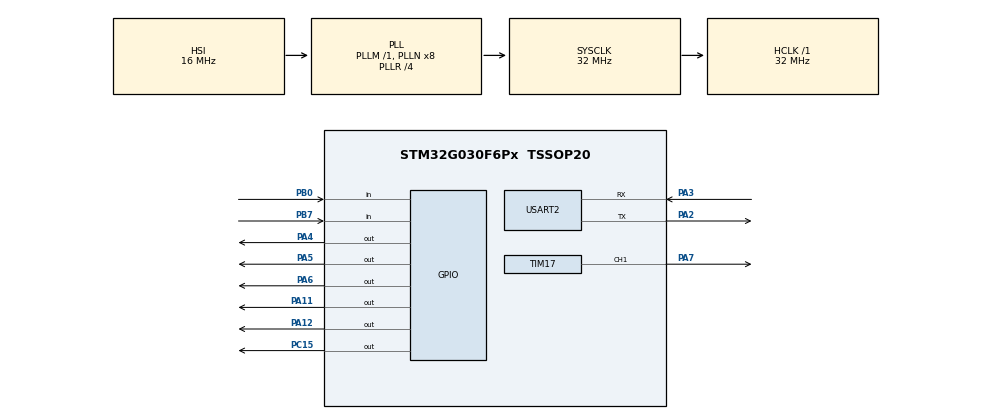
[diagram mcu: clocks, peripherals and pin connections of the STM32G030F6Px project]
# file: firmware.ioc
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Dma.Request0=TIM17_CH1
Dma.TIM17_CH1.0.Direction=DMA_MEMORY_TO_PERIPH
Dma.TIM17_CH1.0.EventEnable=DISABLE
Dma.TIM17_CH1.0.Instance=DMA1_Channel1
Dma.TIM17_CH1.0.MemDataAlignment=DMA_MDATAALIGN_HALFWORD
Dma.TIM17_CH1.0.MemInc=DMA_MINC_ENABLE
Dma.TIM17_CH1.0.Mode=DMA_NORMAL
Dma.TIM17_CH1.0.PeriphDataAlignment=DMA_PDATAALIGN_HALFWORD
Dma.TIM17_CH1.0.PeriphInc=DMA_PINC_DISABLE
Dma.TIM17_CH1.0.Polarity=HAL_DMAMUX_REQ_GEN_RISING
Dma.TIM17_CH1.0.Priority=DMA_PRIORITY_MEDIUM
Dma.TIM17_CH1.0.RequestNumber=1
Dma.TIM17_CH1.0.SignalID=NONE
Dma.TIM17_CH1.0.SyncEnable=DISABLE
Dma.TIM17_CH1.0.SyncPolarity=HAL_DMAMUX_SYNC_NO_EVENT
Dma.TIM17_CH1.0.SyncRequestNumber=1
Dma.TIM17_CH1.0.SyncSignalID=NONE
Mcu.Family=STM32G0
Mcu.Name=STM32G030F6Px
Mcu.Package=TSSOP20
NVIC.DMA1_Channel1_IRQn=true\:0\:0\:false\:false\:true\:false\:true\:true
NVIC.TIM17_IRQn=true\:0\:0\:false\:false\:true\:true\:true\:true
NVIC.USART2_IRQn=true\:0\:0\:false\:false\:true\:true\:true\:true
PA11\ [PA9].Signal=GPIO_Output
PA12\ [PA10].Signal=GPIO_Output
PA13.Mode=Serial_Wire
PA13.Signal=SYS_SWDIO
PA14-BOOT0.Mode=Serial_Wire
PA14-BOOT0.Signal=SYS_SWCLK
PA14-BOOT0__PA15.StandardMode=true
PA2.Mode=Asynchronous
PA2.Signal=USART2_TX
PA3.Mode=Asynchronous
PA3.Signal=USART2_RX
PA4.Signal=GPIO_Output
PA5.PinState=GPIO_PIN_RESET
PA5.Signal=GPIO_Output
PA6.Signal=GPIO_Output
PA7.Signal=S_TIM17_CH1
PB0.GPIO_PuPd=GPIO_PULLDOWN
PB0.Signal=GPIO_Input
PB0__PB1__PB2__PA8.StandardMode=true
PB3__PB4__PB5__PB6.StandardMode=true
PB7.Signal=GPIO_Input
PB7__PB8.StandardMode=true
PC14-OSC32_IN\ (PC14)__PB9.StandardMode=true
PC15-OSC32_OUT\ (PC15).Signal=GPIO_Output
ProjectManager.HeapSize=0x200
ProjectManager.StackSize=0x400
ProjectManager.TargetToolchain=STM32CubeIDE
RCC.ADCFreq_Value=32000000
RCC.AHBFreq_Value=32000000
RCC.CortexFreq_Value=32000000
RCC.EXTERNAL_CLOCK_VALUE=12288000
RCC.HCLKFreq_Value=32000000
RCC.HSE_VALUE=8000000
RCC.HSI_VALUE=16000000
RCC.LSE_VALUE=32768
RCC.PLLR=RCC_PLLR_DIV4
RCC.SYSCLKFreq_VALUE=32000000
RCC.SYSCLKSource=RCC_SYSCLKSOURCE_PLLCLK
RCC.VCOOutputFreq_Value=128000000
SH.S_TIM17_CH1.0=TIM17_CH1,PWM Generation1 CH1
TIM17.Channel=TIM_CHANNEL_1
TIM17.Period=39
USART2.VirtualMode-Asynchronous=VM_ASYNC
VP_TIM17_VS_ClockSourceINT.Mode=Enable_Timer
board=custom

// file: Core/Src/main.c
/* USER CODE BEGIN Header */
/**
  ******************************************************************************
  * @file           : main.c
  * @brief          : Main program body
  * @author					: Thomas Stäheli
  ******************************************************************************
  * @attention
  *
  * Copyright (c) 2025 STMicroelectronics.
  * All rights reserved.
  *
  * This software is licensed under terms that can be found in the LICENSE file
  * in the root directory of this software component.
  * If no LICENSE file comes with this software, it is provided AS-IS.
  *
  ******************************************************************************
  */
/* USER CODE END Header */
#include "main.h"

/* USER CODE BEGIN Includes */
#include <stdio.h>
#include <string.h>
#include <stdint.h>
#include "rgb_led.h"
#include "bitmap.h"
#include "board_com.h"
#include "fifo.h"
#include "core_cm0plus.h" // pour __NOP() si dispo
/* USER CODE END Includes */

/* USER CODE BEGIN PTD */
// Handle all the pins from schematics (same name in the schematic)
typedef enum {
	ROW0, ROW1, ROW2, COL0, COL1, COL2, READ, BUTTON
} Pins;

// Game states
typedef enum {
	INIT_ANIMATION, 			// INIT
	INIT_BOARD, 				 	// Wait until the board is init (32 pieces placed)
	STARTING_ANIMATION,  	// Before start
	IN_GAME, 						 	// Reading UART port for app command
	GAME_END						 	// Handle the restart of a new game
} States;

// Store the differents pins name and port
typedef struct {
	GPIO_TypeDef *port;   // Pointer to the GPIO Block (GPIOA, GPIOB…)
	uint16_t pin;         // Pin number
} GPIO_pin;

// A Matrix Square
typedef struct {
	uint8_t column;
	uint8_t line;
} Square;

// Store all the settings
typedef struct {
	uint8_t grid_brightness;
	uint8_t possible_move_brightness;
	Color   board_theme;
} Settings;
/* USER CODE END PTD */

/* USER CODE BEGIN PD */
// DEFINE
#define BOARD_WIDTH									8
#define BOARD_HEIGHT								8
#define BOARD_MIDDLE								BOARD_WIDTH * BOARD_HEIGHT / 2
#define BOARD_IS_NOT_READY					0
#define BOARD_IS_READY							1
#define BOARD_DEFAULT_GRID_BRIGHT		255
#define BOARD_DEFAULT_MOVE_BRIGHT   255

#define PIN_NUMBER_FOR_COLUMN 			3
#define PIN_NUMBER_FOR_LINE	 				3
#define NO_INDEX_FOUND							255

#define COLOR_PANNEL_SIZE						256
#define MAX_COMMAND_SIZE						64
/* USER CODE END PD */

/* USER CODE BEGIN PM */
// MACRO
/* USER CODE END PM */

TIM_HandleTypeDef htim17;
DMA_HandleTypeDef hdma_tim17_ch1;

UART_HandleTypeDef huart2;

/* USER CODE BEGIN PV */
// PRIVATE VARIABLE
// Pinout
static const GPIO_pin gpio_pins[] = {
	{GPIOA, GPIO_PIN_4},  // ROW0
	{GPIOA, GPIO_PIN_5},  // ROW1
	{GPIOA, GPIO_PIN_6},  // ROW2
	{GPIOC, GPIO_PIN_15}, // COL0
	{GPIOA, GPIO_PIN_11}, // COL1
	{GPIOA, GPIO_PIN_12}, // COL2
	{GPIOB, GPIO_PIN_0},  // READ
	{GPIOB, GPIO_PIN_7}   // BUTTON
};

// To generate the animation
Color color_pannel[COLOR_PANNEL_SIZE];

// Bitmap to display on the 64 leds
uint64_t displayed_numbers[3] = {
		0x1838181818187E00ULL, 	// Number : 1
		0x3C66060C30607E00ULL, 	// Number : 2
		0x3C66061C06663C00ULL		// Number : 3
};

static uint8_t 		 	rx_data;     			// To store the received uart byte
static uart_fifo_t 	uart_fifo;   			// UART FIFO
static Settings 		settings = { 			// User settings
		.grid_brightness = BOARD_DEFAULT_GRID_BRIGHT,							// Grid brightness
		.possible_move_brightness = BOARD_DEFAULT_MOVE_BRIGHT,		// Possibles moves brightness
		.board_theme = {0, 0, 0}					// Grid color
};
/* USER CODE END PV */

void SystemClock_Config(void);
static void MX_GPIO_Init(void);
static void MX_DMA_Init(void);
static void MX_USART2_UART_Init(void);
static void MX_TIM17_Init(void);
/* USER CODE BEGIN PFP */
void HAL_TIM_PWM_PulseFinishedCallback(TIM_HandleTypeDef *htim);
void HAL_TIM_PWM_Send_To_DMA(uint16_t *pwm_data);
void UART_Flush(UART_HandleTypeDef *huart);
void set_gpio_column(uint8_t column);
void set_gpio_line(uint8_t line);
uint8_t read_reed_value(Square square);
void read_full_board(uint64_t *board_bitmap);
uint8_t is_a_piece_lift(uint64_t current, uint64_t old);
uint8_t is_a_piece_placed(uint64_t current, uint64_t old);
void generate_frame(uint8_t frame, Color colors[]);
void init_palette();
void led_show_grid(Color colors[]);
void led_show_win(Color colors[], uint8_t side);
void led_show_draw(Color colors[]);
uint8_t is_board_at_init_setup(uint64_t board_bitmap);

/* --- helpers UART --- */
static inline uint32_t t_ms(void){ return HAL_GetTick(); }
static void uart_write(const char *s)
{
    HAL_UART_Transmit(&huart2, (uint8_t*)s, (uint16_t)strlen(s), 100);
}
static void uart_write_n(const char *s, size_t n){ HAL_UART_Transmit(&huart2,(uint8_t*)s,(uint16_t)n,100); }

/* USER CODE END PFP */

int main(void)
{

  /* USER CODE BEGIN 1 */
	// State machine variable
	States 		game_state = STARTING_ANIMATION;
	uint16_t  pwm_data[LED_BUFFER_SIZE] = {0};
	Color     colors[LED_NUMBER] = {0};
	// Save the board state to detect piece lift or place
  uint64_t  old_board_bitmap = 0;
  uint64_t  board_bitmap = 0;
  // UART TX buffer to send command
  char uart_tx_buffer[MAX_COMMAND_SIZE] = {0};
  // To decode UART command
  char string_command[MAX_COMMAND_SIZE];
  cb_cmd_t decoded_command;
  // Reed variable
  uint8_t lift_or_place_index;
  uint8_t status;

  /* USER CODE END 1 */

  /* MCU Configuration--------------------------------------------------------*/

  /* Reset of all peripherals, Initializes the Flash interface and the Systick. */
  HAL_Init();

  /* Configure the system clock */
  SystemClock_Config();

  /* Initialize all configured peripherals */
  MX_GPIO_Init();
  MX_DMA_Init();
  MX_USART2_UART_Init();
  MX_TIM17_Init();
  /* USER CODE BEGIN 2 */
  // UART_Flush(&huart2);
  // Start the interruption on the UART RX bus
  HAL_UART_Receive_IT(&huart2, &rx_data, 1);
  uart_fifo_init(&uart_fifo);
  game_state = INIT_ANIMATION;
  /* USER CODE END 2 */

  /* Infinite loop */
  /* USER CODE BEGIN WHILE */
  while (1)
  {
  	// States machines
  	switch(game_state) {
  	  case INIT_ANIMATION:
  	  	// Init the color pannel to display
  	  	init_palette();
  	  	// Generate 255 differents to display on the 8x8 matrix
  	  	for(uint8_t frame = 0; frame < 255; ++frame) {
  	  		generate_frame(frame, colors);
  	  		led_update_buffer(pwm_data, colors);
					HAL_TIM_PWM_Send_To_DMA(pwm_data);
  	  		HAL_Delay(20);
  	  	}
				// End of init animation
				leds_clear(colors);
  	  	game_state = INIT_BOARD;
  	  	break;
  		case INIT_BOARD:

  			// old_board_bitmap = board_bitmap;
  			// Reading the state of every reed sensors
				read_full_board(&board_bitmap);
				status = is_board_at_init_setup(board_bitmap);
				if(status == BOARD_IS_READY) {
					// Send board init to app ?
					// HAL_UART_Transmit(&huart2, (uint8_t*)uart_tx_buffer, strlen(uart_tx_buffer), HAL_MAX_DELAY);
					game_state = STARTING_ANIMATION;
					led_show_grid(colors);
					led_update_buffer(pwm_data, colors);
					HAL_TIM_PWM_Send_To_DMA(pwm_data);
				}

				// For all the LED's
				for(uint8_t i = 0; i < LED_NUMBER; ++i){
					// Convert the reed index to the led index, because they aren't not connected the same way (see schematic)
					uint8_t led_index = convert_reed_index_to_led_index(i);
					// Take the bitmap value from the current index
					if(bitmap_get_bit(board_bitmap, i)) {
						// if the sensor is closed, led will be green
						Color new_color = {0, 255, 0};
						led_set(led_index, new_color, colors, settings.grid_brightness);
					} else {
						// If the sensor is open, led will be red
						Color new_color = {255, 0, 0};
						led_set(led_index, new_color, colors, settings.grid_brightness);
					}
				}

				// TODO DEBUG PURPOSE
			  // game_state = STARTING_ANIMATION;
  			break;
  		case STARTING_ANIMATION:
  			Color white = {255, 255, 255};
  			Color black = {0, 0, 0};
  			// Displaying the countdown on the 8x8 LED matrix : 3, 2, 1
  			for(int8_t index_number = 3; index_number >= 1; --index_number) {
  			    for(uint8_t i = 0; i < BOARD_HEIGHT * BOARD_WIDTH; ++i) {
  			        if(bitmap_get_bit(displayed_numbers[index_number - 1], i)) {
  			            led_set(convert_reed_index_to_led_index(i), white, colors, settings.grid_brightness);
  			        } else {
  			            led_set(convert_reed_index_to_led_index(i), black, colors, settings.grid_brightness);
  			        }
  			    }
  			    led_update_buffer(pwm_data, colors);
  			    HAL_TIM_PWM_Send_To_DMA(pwm_data);
  			    HAL_Delay(1000);
  			}
  			// Game start because init section is done
				led_show_grid(colors);
  			game_state = IN_GAME;
				break;
  		case IN_GAME:
  			// Saving the old state of the bitmap
  			old_board_bitmap = board_bitmap;
				// Reading the state of every reed sensors
				read_full_board(&board_bitmap);
				// Detect if a piece was lifted
				lift_or_place_index = is_a_piece_lift(board_bitmap, old_board_bitmap);
				if(lift_or_place_index != NO_INDEX_FOUND) {
					// Send a UART cmd to trigger the application
					cb_fmt_evt_lift(uart_tx_buffer, 64, lift_or_place_index, HAL_GetTick());
					HAL_UART_Transmit(&huart2, (uint8_t*)uart_tx_buffer, strlen(uart_tx_buffer), HAL_MAX_DELAY);
				}
				// Detect if a piece was placed
				lift_or_place_index = is_a_piece_placed(board_bitmap, old_board_bitmap);
				if(lift_or_place_index != NO_INDEX_FOUND) {
					led_show_grid(colors);
					// Send a UART cmd to trigger the application
					cb_fmt_evt_place(uart_tx_buffer, 64, lift_or_place_index, HAL_GetTick());
					HAL_UART_Transmit(&huart2, (uint8_t*)uart_tx_buffer, strlen(uart_tx_buffer), HAL_MAX_DELAY);
				}

				// See if there is a command waiting in the uart_fifo
  			int r = uart_fifo_get_command(&uart_fifo, string_command, sizeof(string_command));
				if (r > 0) {
					// Parse the string to get the command and get the command data
					cb_parse_cmd(string_command, &decoded_command);
					// After parse, execute the command
					switch(decoded_command.type) {
					  // General command
						// Ping command (unused)
						case CB_CMD_PING:
							uart_write("OK PING\r\n");
							break;
						// Check the firmware version (unused)
						case CB_CMD_VER_Q:
							uart_write("OK FW=FW1.0.0 HW=PCBv1\r\n");
							break;
						// Get the actual time (unused)
						case CB_CMD_TIME_Q:
							char o[48];
							int n=snprintf(o,sizeof o,"OK TIME %lu\r\n",(unsigned long)t_ms());
							uart_write_n(o,(size_t)n);
							break;
						// Soft Reset (unused)
						case CB_CMD_RST:
							NVIC_SystemReset();
							break;
						// Saving the board state (unused and not implemented)
						case CB_CMD_SAVE:
							uart_write("OK SAVE\r\n");
							break;
						// LED
						// Set the color of a RGB LED
						case CB_CMD_LED_SET:
							Color new_color = {decoded_command.u.led_set.r, decoded_command.u.led_set.g, decoded_command.u.led_set.b};
							led_set(decoded_command.u.led_set.idx, new_color, colors, settings.possible_move_brightness);
							uart_write("OK\r\n");
							break;
						// Set all LED with RGB value = 0 0 0
					  case CB_CMD_LED_OFF_ALL:
					  	led_show_grid(colors);
					  	uart_write("OK\r\n");
					  	break;
					  // WIN
					  case CB_CMD_WIN:
					  	// Show the winning animation
					  	led_show_win(colors, decoded_command.u.led_set.idx);
					  	uart_write("OK\r\n");
					  	game_state = GAME_END;
					  	break;
					  // DRAW
					  case CB_CMD_DRAW:
					  	// Show the draw animation
					  	led_show_draw(colors);
					  	uart_write("OK\r\n");
					  	game_state = GAME_END;
					  	break;
					  // BRIGHTNESS
					  case CB_CMD_LED_BRIGHT:
					  	// Set the global brightness
					  	settings.grid_brightness = decoded_command.u.led_bright.bright;
					  	led_show_grid(colors);

					  	uart_write("OK\r\n");
					  	break;
					  // Color theme
					  case CB_CMD_COLOR_SET:
					  	// Set the color of the outer grid
					  	settings.board_theme.r = decoded_command.u.color_set.r;
					  	settings.board_theme.g = decoded_command.u.color_set.g;
					  	settings.board_theme.b = decoded_command.u.color_set.b;
					  	led_show_grid(colors);
					  	uart_write("OK\r\n");
					  	break;
					  // In case of unknown command
						default:
							uart_write("ERR CMD\r\n");
							break;
					}
				} else if (r == -1) {
						// Trunked command
						uart_write("ERR CMD\r\n");;
				}
  			break;
  		case GAME_END:
  			// Display WIN or DRAW for 3 seconds
  			HAL_Delay(5000);
  			led_show_grid(colors);
  			// Back to init board
  			game_state = INIT_BOARD;
  			break;
  	}

  	// Updating LED throw DMA
  	led_update_buffer(pwm_data, colors);
  	HAL_TIM_PWM_Send_To_DMA(pwm_data);

    /* USER CODE END WHILE */

  }
}

void SystemClock_Config(void)
{
  RCC_OscInitTypeDef RCC_OscInitStruct = {0};
  RCC_ClkInitTypeDef RCC_ClkInitStruct = {0};

  /** Configure the main internal regulator output voltage
  */
  HAL_PWREx_ControlVoltageScaling(PWR_REGULATOR_VOLTAGE_SCALE1);

  /** Initializes the RCC Oscillators according to the specified parameters
  * in the RCC_OscInitTypeDef structure.
  */
  RCC_OscInitStruct.OscillatorType = RCC_OSCILLATORTYPE_HSI;
  RCC_OscInitStruct.HSIState = RCC_HSI_ON;
  RCC_OscInitStruct.HSIDiv = RCC_HSI_DIV1;
  RCC_OscInitStruct.HSICalibrationValue = RCC_HSICALIBRATION_DEFAULT;
  RCC_OscInitStruct.PLL.PLLState = RCC_PLL_ON;
  RCC_OscInitStruct.PLL.PLLSource = RCC_PLLSOURCE_HSI;
  RCC_OscInitStruct.PLL.PLLM = RCC_PLLM_DIV1;
  RCC_OscInitStruct.PLL.PLLN = 8;
  RCC_OscInitStruct.PLL.PLLP = RCC_PLLP_DIV2;
  RCC_OscInitStruct.PLL.PLLR = RCC_PLLR_DIV4;
  if (HAL_RCC_OscConfig(&RCC_OscInitStruct) != HAL_OK)
  {
    Error_Handler();
  }

  /** Initializes the CPU, AHB and APB buses clocks
  */
  RCC_ClkInitStruct.ClockType = RCC_CLOCKTYPE_HCLK|RCC_CLOCKTYPE_SYSCLK
                              |RCC_CLOCKTYPE_PCLK1;
  RCC_ClkInitStruct.SYSCLKSource = RCC_SYSCLKSOURCE_PLLCLK;
  RCC_ClkInitStruct.AHBCLKDivider = RCC_SYSCLK_DIV1;
  RCC_ClkInitStruct.APB1CLKDivider = RCC_HCLK_DIV1;

  if (HAL_RCC_ClockConfig(&RCC_ClkInitStruct, FLASH_LATENCY_1) != HAL_OK)
  {
    Error_Handler();
  }
}

static void MX_TIM17_Init(void)
{

  TIM_OC_InitTypeDef sConfigOC = {0};
  TIM_BreakDeadTimeConfigTypeDef sBreakDeadTimeConfig = {0};

  htim17.Instance = TIM17;
  htim17.Init.Prescaler = 0;
  htim17.Init.CounterMode = TIM_COUNTERMODE_UP;
  htim17.Init.Period = 39;
  htim17.Init.ClockDivision = TIM_CLOCKDIVISION_DIV1;
  htim17.Init.RepetitionCounter = 0;
  htim17.Init.AutoReloadPreload = TIM_AUTORELOAD_PRELOAD_DISABLE;
  if (HAL_TIM_Base_Init(&htim17) != HAL_OK)
  {
    Error_Handler();
  }
  if (HAL_TIM_PWM_Init(&htim17) != HAL_OK)
  {
    Error_Handler();
  }
  sConfigOC.OCMode = TIM_OCMODE_PWM1;
  sConfigOC.Pulse = 0;
  sConfigOC.OCPolarity = TIM_OCPOLARITY_HIGH;
  sConfigOC.OCNPolarity = TIM_OCNPOLARITY_HIGH;
  sConfigOC.OCFastMode = TIM_OCFAST_DISABLE;
  sConfigOC.OCIdleState = TIM_OCIDLESTATE_RESET;
  sConfigOC.OCNIdleState = TIM_OCNIDLESTATE_RESET;
  if (HAL_TIM_PWM_ConfigChannel(&htim17, &sConfigOC, TIM_CHANNEL_1) != HAL_OK)
  {
    Error_Handler();
  }
  sBreakDeadTimeConfig.OffStateRunMode = TIM_OSSR_DISABLE;
  sBreakDeadTimeConfig.OffStateIDLEMode = TIM_OSSI_DISABLE;
  sBreakDeadTimeConfig.LockLevel = TIM_LOCKLEVEL_OFF;
  sBreakDeadTimeConfig.DeadTime = 0;
  sBreakDeadTimeConfig.BreakState = TIM_BREAK_DISABLE;
  sBreakDeadTimeConfig.BreakPolarity = TIM_BREAKPOLARITY_HIGH;
  sBreakDeadTimeConfig.BreakFilter = 0;
  sBreakDeadTimeConfig.AutomaticOutput = TIM_AUTOMATICOUTPUT_DISABLE;
  if (HAL_TIMEx_ConfigBreakDeadTime(&htim17, &sBreakDeadTimeConfig) != HAL_OK)
  {
    Error_Handler();
  }
  HAL_TIM_MspPostInit(&htim17);

}

static void MX_USART2_UART_Init(void)
{

  huart2.Instance = USART2;
  huart2.Init.BaudRate = 115200;
  huart2.Init.WordLength = UART_WORDLENGTH_8B;
  huart2.Init.StopBits = UART_STOPBITS_1;
  huart2.Init.Parity = UART_PARITY_NONE;
  huart2.Init.Mode = UART_MODE_TX_RX;
  huart2.Init.HwFlowCtl = UART_HWCONTROL_NONE;
  huart2.Init.OverSampling = UART_OVERSAMPLING_16;
  huart2.Init.OneBitSampling = UART_ONE_BIT_SAMPLE_DISABLE;
  huart2.Init.ClockPrescaler = UART_PRESCALER_DIV1;
  huart2.AdvancedInit.AdvFeatureInit = UART_ADVFEATURE_NO_INIT;
  if (HAL_UART_Init(&huart2) != HAL_OK)
  {
    Error_Handler();
  }
  /* USER CODE BEGIN USART2_Init 2 */
  // NVIC

  /* USER CODE END USART2_Init 2 */

}

static void MX_DMA_Init(void)
{

  /* DMA controller clock enable */
  __HAL_RCC_DMA1_CLK_ENABLE();

  /* DMA interrupt init */
  /* DMA1_Channel1_IRQn interrupt configuration */
  HAL_NVIC_SetPriority(DMA1_Channel1_IRQn, 0, 0);
  HAL_NVIC_EnableIRQ(DMA1_Channel1_IRQn);

}

static void MX_GPIO_Init(void)
{
  GPIO_InitTypeDef GPIO_InitStruct = {0};

  /* GPIO Ports Clock Enable */
  __HAL_RCC_GPIOB_CLK_ENABLE();
  __HAL_RCC_GPIOC_CLK_ENABLE();
  __HAL_RCC_GPIOA_CLK_ENABLE();

  /*Configure GPIO pin Output Level */
  HAL_GPIO_WritePin(GPIOC, GPIO_PIN_15, GPIO_PIN_RESET);

  /*Configure GPIO pin Output Level */
  HAL_GPIO_WritePin(GPIOA, GPIO_PIN_4|GPIO_PIN_5|GPIO_PIN_6|GPIO_PIN_11
                          |GPIO_PIN_12, GPIO_PIN_RESET);

  /*Configure GPIO pin : PB7 */
  GPIO_InitStruct.Pin = GPIO_PIN_7;
  GPIO_InitStruct.Mode = GPIO_MODE_INPUT;
  GPIO_InitStruct.Pull = GPIO_NOPULL;
  HAL_GPIO_Init(GPIOB, &GPIO_InitStruct);

  /*Configure GPIO pin : PC15 */
  GPIO_InitStruct.Pin = GPIO_PIN_15;
  GPIO_InitStruct.Mode = GPIO_MODE_OUTPUT_PP;
  GPIO_InitStruct.Pull = GPIO_NOPULL;
  GPIO_InitStruct.Speed = GPIO_SPEED_FREQ_LOW;
  HAL_GPIO_Init(GPIOC, &GPIO_InitStruct);

  /*Configure GPIO pins : PA4 PA5 PA6 PA11
                           PA12 */
  GPIO_InitStruct.Pin = GPIO_PIN_4|GPIO_PIN_5|GPIO_PIN_6|GPIO_PIN_11
                          |GPIO_PIN_12;
  GPIO_InitStruct.Mode = GPIO_MODE_OUTPUT_PP;
  GPIO_InitStruct.Pull = GPIO_NOPULL;
  GPIO_InitStruct.Speed = GPIO_SPEED_FREQ_LOW;
  HAL_GPIO_Init(GPIOA, &GPIO_InitStruct);

  /*Configure GPIO pin : PB0 */
  GPIO_InitStruct.Pin = GPIO_PIN_0;
  GPIO_InitStruct.Mode = GPIO_MODE_INPUT;
  GPIO_InitStruct.Pull = GPIO_PULLDOWN;
  HAL_GPIO_Init(GPIOB, &GPIO_InitStruct);

}

/* USER CODE BEGIN 4 */
/*
 * Start sending data
 */
void HAL_TIM_PWM_Send_To_DMA(uint16_t *pwm_data)
{
    ws2812_transfer_complete = 0;
    HAL_TIM_PWM_Start_DMA(&htim17, TIM_CHANNEL_1, (uint32_t*)pwm_data, LED_BUFFER_SIZE);

    while(!ws2812_transfer_complete) {}
}

/*
 * DMA Callback
 */
void HAL_TIM_PWM_PulseFinishedCallback(TIM_HandleTypeDef *htim)
{
    if(htim->Instance == TIM17)
    {
        HAL_TIM_PWM_Stop_DMA(htim, TIM_CHANNEL_1);
        ws2812_transfer_complete = 1;
    }
}

/*
 * UART Callback
 */
void HAL_UART_RxCpltCallback(UART_HandleTypeDef *huart)
{
    if (huart->Instance == USART2)
    {
        // Store the received caracter in the UART fifo
    		uart_fifo_push_isr(&uart_fifo, rx_data);

        // Rearm the UART interrupt
        HAL_UART_Receive_IT(&huart2, &rx_data, 1);
    }
}

/*
 * Flush the TX UART
 */
void UART_Flush(UART_HandleTypeDef *huart)
{
    // Vider le registre RX tant qu’il reste des données
    __HAL_UART_FLUSH_DRREGISTER(huart);

    // Effacer les flags d’erreur éventuels (Overrun, Framing, Noise, Parity)
    __HAL_UART_CLEAR_OREFLAG(huart);
    __HAL_UART_CLEAR_FEFLAG(huart);
    __HAL_UART_CLEAR_NEFLAG(huart);
    __HAL_UART_CLEAR_PEFLAG(huart);

    // Attendre que la transmission en cours (TX) soit terminée
    while(__HAL_UART_GET_FLAG(huart, UART_FLAG_TC) == RESET);

}

/*
 * Check if the board is a the init setup (32 pieces placed a the correct spot)
 */
uint8_t is_board_at_init_setup(uint64_t board_bitmap) {

	// Verify the white side
	for(uint8_t index = 0; index < 16; ++index) {
		if(bitmap_get_bit(board_bitmap, index) == 0) {
				return BOARD_IS_NOT_READY;
		}
	}

	// Verify the black side
	for(uint8_t index = 48; index < BOARD_WIDTH * BOARD_HEIGHT; ++index) {
		if(bitmap_get_bit(board_bitmap, index) == 0) {
				return BOARD_IS_NOT_READY;
		}
	}

	return BOARD_IS_READY;
}

/*
 * Check if a piece has been lifted
 */
uint8_t is_a_piece_lift(uint64_t current, uint64_t old) {

	for(uint8_t index = 0; index < BOARD_WIDTH * BOARD_HEIGHT; ++index) {

		// Old state was active and new state is off
		if(bitmap_get_bit(old, index) == 1 && bitmap_get_bit(current, index) == 0) {
				return index;
		}
	}

	return NO_INDEX_FOUND;
}

/*
 * Check if a piece has been placed
 */
uint8_t is_a_piece_placed(uint64_t current, uint64_t old) {

	for(uint8_t index = 0; index < BOARD_WIDTH * BOARD_HEIGHT; ++index) {

		// Old state was off and new state is active
		if(bitmap_get_bit(old, index) == 0 && bitmap_get_bit(current, index) == 1) {
				return index;
		}
	}

	return NO_INDEX_FOUND;
}

/*
 * Set the GPIO column for the decoder
 */
void set_gpio_column(uint8_t column) {

	uint8_t mask = 1;

	for(uint8_t i = COL0; i < PIN_NUMBER_FOR_COLUMN + COL0; ++i) {
		HAL_GPIO_WritePin(gpio_pins[i].port, gpio_pins[i].pin, GPIO_PIN_RESET);
	}

	for(uint8_t i = COL0; i < PIN_NUMBER_FOR_COLUMN + COL0; ++i) {
		if(column & mask) {
			HAL_GPIO_WritePin(gpio_pins[i].port, gpio_pins[i].pin, GPIO_PIN_SET);
		}
		mask *= 2;
	}
}

/*
 * Set the GPIO line for the decoder
 */
void set_gpio_line(uint8_t line) {

	uint8_t mask = 1;

	for(uint8_t i = ROW0; i < PIN_NUMBER_FOR_LINE; ++i) {
		HAL_GPIO_WritePin(gpio_pins[i].port, gpio_pins[i].pin, GPIO_PIN_RESET);
	}

	for(uint8_t i = ROW0; i < PIN_NUMBER_FOR_LINE; ++i) {
		if(line & mask) {
			HAL_GPIO_WritePin(gpio_pins[i].port, gpio_pins[i].pin, GPIO_PIN_SET);
		}
		mask *= 2;
	}
}

/*
 * Small delay to wait for propagation time
 */
static inline void tiny_delay_us(uint32_t us)
{
    // boucle NOP très courte (~ à ajuster). Ou utilise un timer si tu en as un.
    while (us--) { for (volatile int i = 0; i < 16; ++i) __NOP(); }
}

/*
 * Get the state of one reed on the led matrix
 */
uint8_t read_reed_value(Square square)
{
		// Select the correct line and column to read
    set_gpio_column(square.column);
    set_gpio_line(square.line);
    tiny_delay_us(5);  // Tiny delay to wait for propagation time
    // Get the value on the READ pin (see schematics)
    return HAL_GPIO_ReadPin(gpio_pins[READ].port, gpio_pins[READ].pin);
}

/*
 * Fill the bitmap board depending on the reeds sensors states
 */
void read_full_board(uint64_t *board_bitmap) {

	Square square = {0, 0};
	// For all the board's squares
	for(uint8_t column = 0; column < BOARD_WIDTH; ++column) {
		for(uint8_t line = 0; line < BOARD_HEIGHT; ++line) {
			// Init square (each column and lines)
			square.column = column;
			square.line = line;
			// If the reed sensor is closed, the bit is set
			if(read_reed_value(square)) {
				bitmap_set_bit(board_bitmap, line * BOARD_WIDTH + column);
			} else {
				// If the reed sensor is open, the bit is clear
				bitmap_clear_bit(board_bitmap, line * BOARD_WIDTH + column);
			}
		}
	}
}

/*
 * Init the color pannel for the starting animation
 */
void init_palette() {
  for (int i = 0; i < COLOR_PANNEL_SIZE; i++) {
    if (i < 85) {
      color_pannel[i].r = i * 3;
      color_pannel[i].g = 255 - i * 3;
      color_pannel[i].b = 0;
    } else if (i < 170) {
      int j = i - 85;
      color_pannel[i].r = 255 - j * 3;
      color_pannel[i].g = 0;
      color_pannel[i].b = j * 3;
    } else {
      int j = i - 170;
      color_pannel[i].r = 0;
      color_pannel[i].g = j * 3;
      color_pannel[i].b = 255 - j * 3;
    }
  }
}

/*
 * Generate a frame on the led matrix
 */
void generate_frame(uint8_t frame, Color colors[]) {

	uint8_t color_index;

	for (uint8_t y = 0; y < BOARD_WIDTH; ++y) {
    for (uint8_t x = 0; x < BOARD_HEIGHT; ++x) {
      color_index = (x * x + y * y + frame * BOARD_WIDTH) & 0xFF;
      Color color = {color_pannel[color_index].r, color_pannel[color_index].g, color_pannel[color_index].b};
      led_set(convert_reed_index_to_led_index(y * BOARD_WIDTH + x), color, colors, settings.grid_brightness);
    }
  }
}

/*
 * Function that display the grid
 */
void led_show_grid(Color colors[]) {

	Color white  = {255, 255, 255};

	// Set the white part of the grid (half of the board)
	for(uint8_t index = 0; index < BOARD_WIDTH * BOARD_HEIGHT; index+=2) {
		led_set(index, white, colors, settings.grid_brightness);
	}

	// Set all the others squares
	for(uint8_t index = 1; index < BOARD_WIDTH * BOARD_HEIGHT; index+=2) {
		led_set(index, settings.board_theme, colors, settings.grid_brightness);
	}
}

/*
 * Function that display the draw game state
 */
void led_show_win(Color colors[], uint8_t side) {

	// side = 0 => black win || side = 1 => white win
	Color white_side_color = {side ? 0 : 255, side ? 255 : 0, 0};
	Color black_side_color = {side == 0 ? 0 : 255, side == 0? 255 : 0, 0};

	// Fill the LED matrix
	for(uint8_t index = 0; index < BOARD_WIDTH * BOARD_HEIGHT / 2; ++index) {
		led_set(index, white_side_color, colors, settings.grid_brightness);
	}

	for(uint8_t index = BOARD_WIDTH * BOARD_HEIGHT / 2; index < BOARD_WIDTH * BOARD_HEIGHT; ++index) {
		led_set(index, black_side_color, colors, settings.grid_brightness);
	}
}

/*
 * Function that display the draw game state
 */
void led_show_draw(Color colors[]) {

	Color white = {255, 255, 255};

	leds_clear(colors);

	for(uint8_t index = 16; index < 24; ++index) {
		led_set(index, white, colors, settings.grid_brightness);
	}

	for(uint8_t index = 40; index < 48; ++index) {
		led_set(index, white, colors, settings.grid_brightness);
	}
}

/* USER CODE END 4 */

void Error_Handler(void)
{
  __disable_irq();
  while (1)
  {
  }
}
